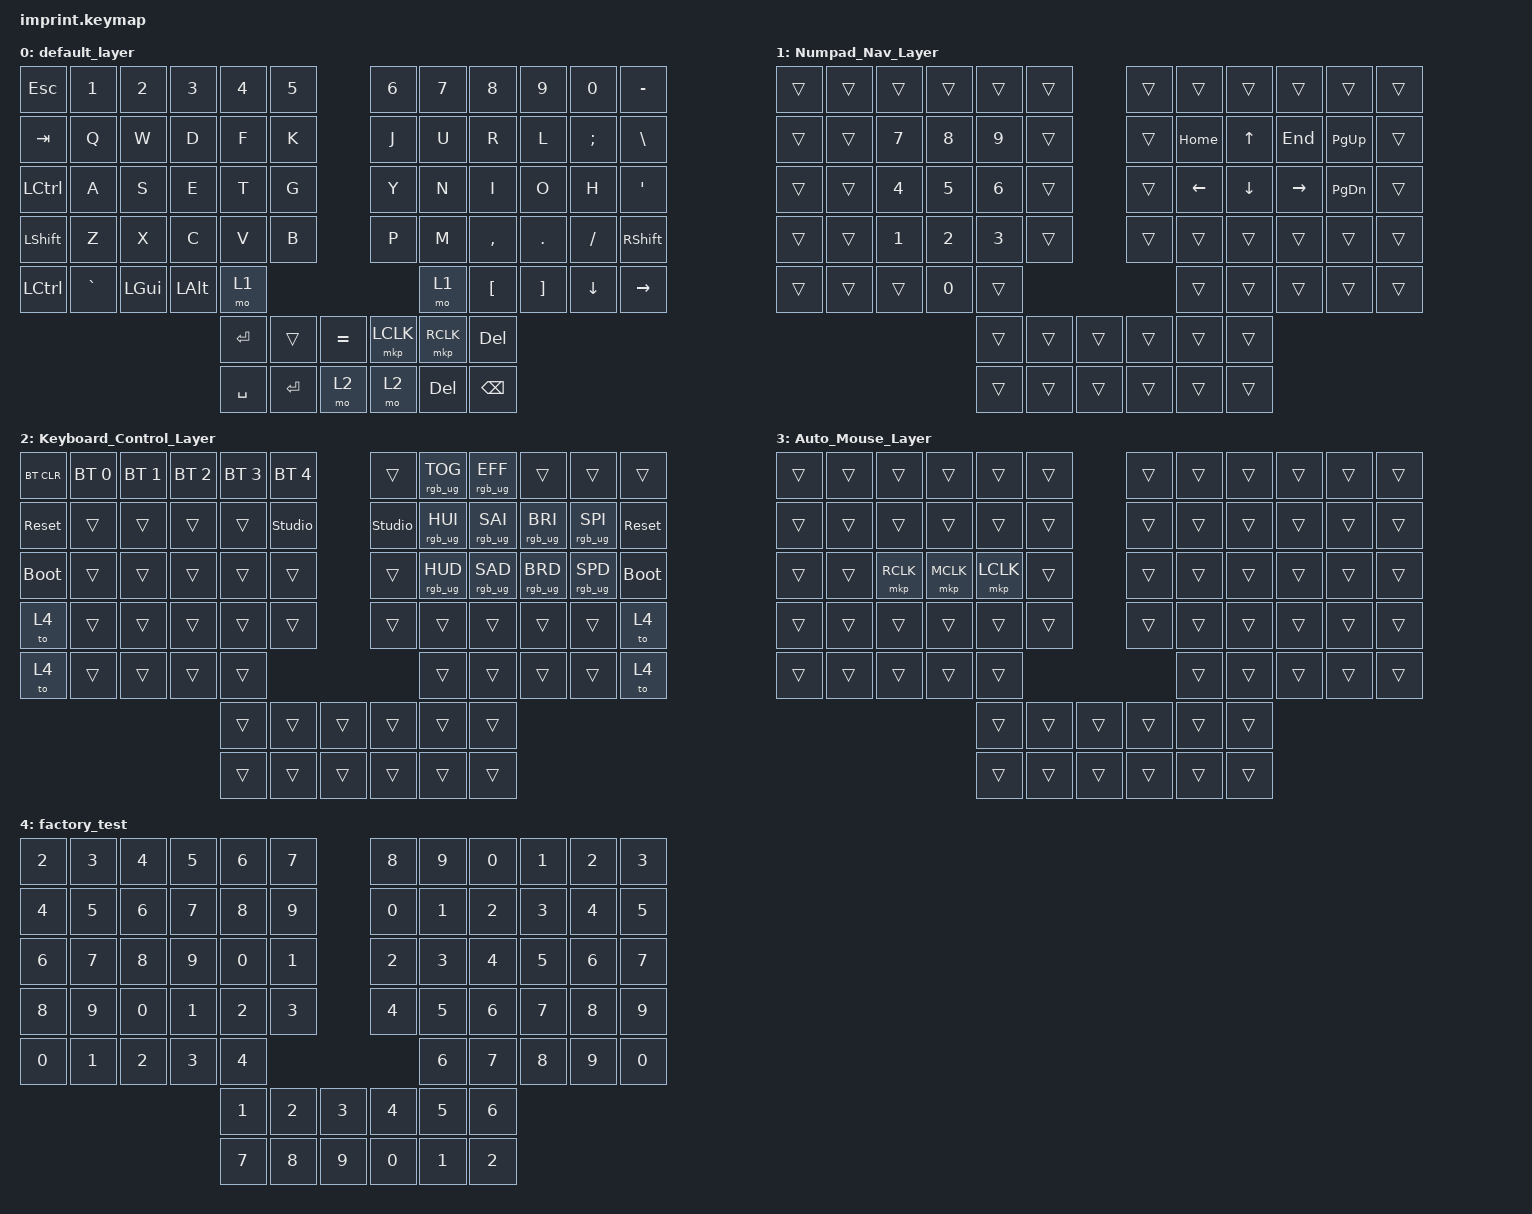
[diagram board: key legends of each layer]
#include <input/processors.dtsi>
#include <dt-bindings/zmk/input_transform.h>
#include <behaviors.dtsi>
#include <dt-bindings/zmk/bt.h>
#include <dt-bindings/zmk/keys.h>
#include <dt-bindings/zmk/pointing.h>
#include <dt-bindings/zmk/rgb.h>

/ {
    chosen { zmk,matrix-transform = &imprint_number_row_full_bottom_row; };

    keymap {
        compatible = "zmk,keymap";

        default_layer {
            bindings = <
&kp ESC    &kp N1     &kp N2    &kp N3    &kp N4     &kp N5                &kp N6     &kp N7      &kp N8            &kp N9             &kp N0          &kp MINUS
&kp TAB    &kp Q      &kp W     &kp D     &kp F      &kp K                 &kp J      &kp U       &kp R             &kp L              &kp SEMI        &kp BSLH
&kp LCTRL  &kp A      &kp S     &kp E     &kp T      &kp G                 &kp Y      &kp N       &kp I             &kp O              &kp H           &kp SQT
&kp LSHFT  &kp Z      &kp X     &kp C     &kp V      &kp B                 &kp P      &kp M       &kp COMMA         &kp DOT            &kp SLASH       &kp RSHFT
&kp LCTRL  &kp GRAVE  &kp LGUI  &kp LALT  &mo 1                                       &mo 1       &kp LEFT_BRACKET  &kp RIGHT_BRACKET  &kp DOWN_ARROW  &kp RIGHT_ARROW
                                          &kp ENTER  &trans   &kp EQUAL    &mkp LCLK  &mkp RCLK   &kp DEL
                                          &kp SPACE  &kp RET  &mo 2        &mo 2      &kp DELETE  &kp BACKSPACE
            >;
        };

        Numpad_Nav_Layer {
            bindings = <
&trans  &trans  &trans  &trans  &trans  &trans            &trans  &trans    &trans    &trans     &trans         &trans
&trans  &trans  &kp N7  &kp N8  &kp N9  &trans            &trans  &kp HOME  &kp UP    &kp END    &kp PAGE_UP    &trans
&trans  &trans  &kp N4  &kp N5  &kp N6  &trans            &trans  &kp LEFT  &kp DOWN  &kp RIGHT  &kp PAGE_DOWN  &trans
&trans  &trans  &kp N1  &kp N2  &kp N3  &trans            &trans  &trans    &trans    &trans     &trans         &trans
&trans  &trans  &trans  &kp N0  &trans                            &trans    &trans    &trans     &trans         &trans
                                &trans  &trans  &trans    &trans  &trans    &trans
                                &trans  &trans  &trans    &trans  &trans    &trans
            >;
        };

        Keyboard_Control_Layer {
            bindings = <
&bt BT_CLR   &bt BT_SEL 0  &bt BT_SEL 1  &bt BT_SEL 2  &bt BT_SEL 3  &bt BT_SEL 4              &trans          &rgb_ug RGB_TOG  &rgb_ug RGB_EFF  &trans           &trans           &trans
&sys_reset   &trans        &trans        &trans        &trans        &studio_unlock            &studio_unlock  &rgb_ug RGB_HUI  &rgb_ug RGB_SAI  &rgb_ug RGB_BRI  &rgb_ug RGB_SPI  &sys_reset
&bootloader  &trans        &trans        &trans        &trans        &trans                    &trans          &rgb_ug RGB_HUD  &rgb_ug RGB_SAD  &rgb_ug RGB_BRD  &rgb_ug RGB_SPD  &bootloader
&to 4        &trans        &trans        &trans        &trans        &trans                    &trans          &trans           &trans           &trans           &trans           &to 4
&to 4        &trans        &trans        &trans        &trans                                                  &trans           &trans           &trans           &trans           &to 4
                                                       &trans        &trans          &trans    &trans          &trans           &trans
                                                       &trans        &trans          &trans    &trans          &trans           &trans
            >;
        };

        Auto_Mouse_Layer {
            bindings = <
&trans  &trans  &trans     &trans     &trans     &trans            &trans  &trans  &trans  &trans  &trans  &trans
&trans  &trans  &trans     &trans     &trans     &trans            &trans  &trans  &trans  &trans  &trans  &trans
&trans  &trans  &mkp RCLK  &mkp MCLK  &mkp LCLK  &trans            &trans  &trans  &trans  &trans  &trans  &trans
&trans  &trans  &trans     &trans     &trans     &trans            &trans  &trans  &trans  &trans  &trans  &trans
&trans  &trans  &trans     &trans     &trans                               &trans  &trans  &trans  &trans  &trans
                                      &trans     &trans  &trans    &trans  &trans  &trans
                                      &trans     &trans  &trans    &trans  &trans  &trans
            >;
        };

        factory_test {
            bindings = <
&kp N2  &kp N3  &kp N4  &kp N5  &kp N6  &kp N7            &kp N8  &kp N9  &kp N0  &kp N1  &kp N2  &kp N3
&kp N4  &kp N5  &kp N6  &kp N7  &kp N8  &kp N9            &kp N0  &kp N1  &kp N2  &kp N3  &kp N4  &kp N5
&kp N6  &kp N7  &kp N8  &kp N9  &kp N0  &kp N1            &kp N2  &kp N3  &kp N4  &kp N5  &kp N6  &kp N7
&kp N8  &kp N9  &kp N0  &kp N1  &kp N2  &kp N3            &kp N4  &kp N5  &kp N6  &kp N7  &kp N8  &kp N9
&kp N0  &kp N1  &kp N2  &kp N3  &kp N4                            &kp N6  &kp N7  &kp N8  &kp N9  &kp N0
                                &kp N1  &kp N2  &kp N3    &kp N4  &kp N5  &kp N6
                                &kp N7  &kp N8  &kp N9    &kp N0  &kp N1  &kp N2
            >;
        };
    };
};

// right hand trackball configuration
// &trackball_peripheral_listener {
//    input-processors =
//     activate layer 3 within 500ms of the trackball moving
//     <&zip_temp_layer 3 500>;
// };
//left hand trackball configuration

&trackball_central_listener {
    input-processors =
        // multiply sensitivity by 1, divide by 3 (make it slower for scrolling),,,,,
        <&zip_xy_scaler 1 3>,
        // make this trackball output scrolling events by default instead of cursor movement,,,,,
        <&zip_xy_to_scroll_mapper>,
        // invert vertical scrolling so that the view moves in the same direction as the top of the trackball.,,,,,
        <&zip_scroll_transform INPUT_TRANSFORM_Y_INVERT>;
};
